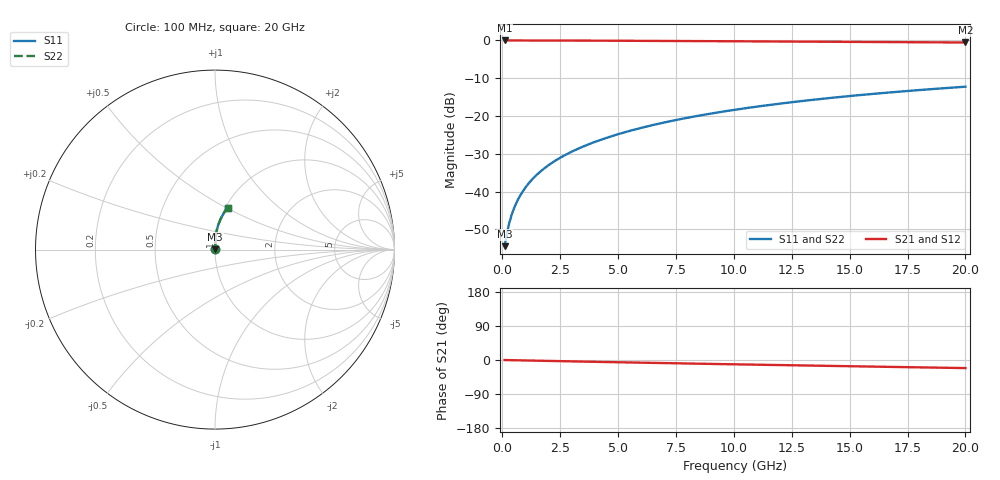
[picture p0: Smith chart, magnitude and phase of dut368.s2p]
! Touchstone file exported from HFSS 2024.1.0
!  File:  C:/UserFiles/LocalFiles/RDL_TSV_Batchsim/temp_RDL_bottom_368_1779613134.aedt
!  Generated:  05:02:29 PM May 24, 2026
!  Design:  RDL_bottom
!  Project:  temp_RDL_bottom_368_1779613134
!  Setup:  Setup1
!  Solution:  Sweep
! Variables:
!  dtsv = 10.80580581um
!  hbump = 3um
!  htsv = 83.08um
!  ldown = 245.16um
!  lrdl = 100um
!  p = 40
!  p1 = 56.94um
!  rhole = 1um
!  t = 450um
!  tdown = 3.2um
!  trdl = 3.915915916um
!  wdown = 21.89um
!  wrdl = 20um
# GHz S MA R 50.000000
! Terminal data exported
! Port[1] = RDL1_T1
! Port[2] = RDL1_T2
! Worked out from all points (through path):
!   200 points, 100 MHz to 20 GHz, reference 50 ohm
!   highest |S21| = -0.01 dB at 100 MHz (marker M1); lowest = -0.5 dB at 20 GHz (marker M2)
!   group delay of S21, straight-line fit = 2.94 ps
!   lowest |S11| = -54.4 dB at 100 MHz (marker M3), VSWR 1.00, Z = 50.1 + j0.119 ohm
!   |S11| at or under -10 dB: start of sweep to end of sweep
!   |S22| runs from -54.4 to -12.2 dB; largest |S21 - S12| = 2.7e-15
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0.1  0.001897 38.8  0.9985 -0.1  0.9985 -0.1  0.001897 38.8
! Gamma 0 0 0 0
! Port Impedance 50 0 50 0
0.2  0.002806 57.0  0.9985 -0.3  0.9985 -0.3  0.002806 57.0
0.3  0.003832 65.5  0.9984 -0.4  0.9984 -0.4  0.003832 65.5
0.4  0.004883 70.4  0.9983 -0.5  0.9983 -0.5  0.004883 70.4
0.5  0.005943 73.6  0.9982 -0.6  0.9982 -0.6  0.005943 73.6
0.6  0.007009 75.9  0.9981 -0.7  0.9981 -0.7  0.007009 75.9
0.8  0.009156 79.0  0.998 -1.0  0.998 -1.0  0.009156 79.0
1.1  0.01241 81.8  0.9977 -1.4  0.9977 -1.4  0.01241 81.8
1.5  0.01681 83.9  0.9973 -1.8  0.9973 -1.8  0.01681 83.9
1.8  0.02014 84.9  0.9969 -2.2  0.9969 -2.2  0.02014 84.9
2.1  0.0235 85.6  0.9965 -2.6  0.9965 -2.6  0.0235 85.6
2.7  0.03031 86.6  0.9955 -3.3  0.9955 -3.3  0.03031 86.6
3.5  0.03955 87.2  0.9938 -4.2  0.9938 -4.2  0.03955 87.2
4.2  0.04781 87.4  0.9921 -5.0  0.9921 -5.0  0.04781 87.4
5  0.05743 87.3  0.99 -6.0  0.99 -6.0  0.05743 87.3
5.9  0.06846 87.0  0.9873 -7.0  0.9873 -7.0  0.06846 87.0
6.8  0.07967 86.5  0.9846 -8.0  0.9846 -8.0  0.07967 86.5
8.4  0.09992 85.3  0.9794 -9.7  0.9794 -9.7  0.09992 85.3
10.1  0.1216 83.8  0.9737 -11.5  0.9737 -11.5  0.1216 83.8
13.4  0.1637 80.3  0.9625 -14.9  0.9625 -14.9  0.1637 80.3
16.7  0.2046 76.7  0.9509 -18.1  0.9509 -18.1  0.2046 76.7
20  0.2441 73.2  0.9387 -21.3  0.9387 -21.3  0.2441 73.2
